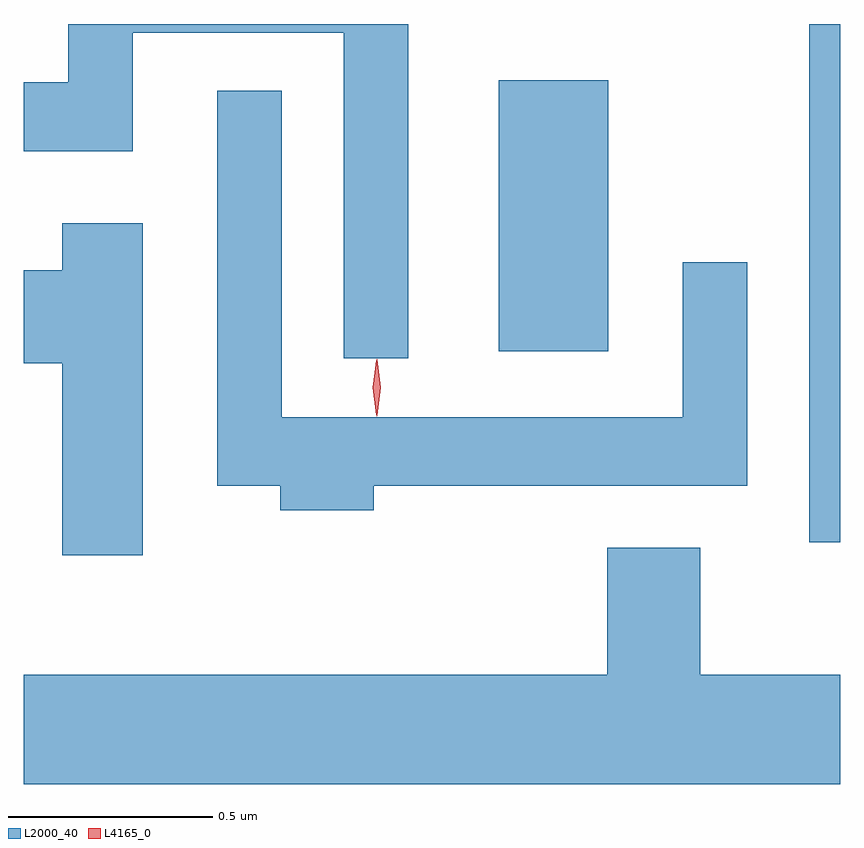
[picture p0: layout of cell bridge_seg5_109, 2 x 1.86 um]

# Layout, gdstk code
import gdstk
lib = gdstk.Library(unit=1e-6, precision=1e-09)
def R(c, l, rs):  # rectangles x0, y0, x1, y1
    for r in rs: c.add(gdstk.rectangle(r[:2], r[2:], *l))
def P(c, l, *ps):  # polygons
    for p in ps: c.add(gdstk.Polygon(p, *l))
L2000_40 = (2000, 40)
L4165_0 = (4165, 0)

bridge_seg5_109 = lib.new_cell('bridge_seg5_109')
R(bridge_seg5_109, L2000_40, [(1167.656,1504.008,1167.732,1505.277), (1166.896,1504.476,1167.164,1505.139)])
P(bridge_seg5_109, L2000_40, [(1166.674,1505.277),(1165.841,1505.277),(1165.841,1505.134),(1165.732,1505.134),(1165.732,1504.966),(1165.999,1504.966),(1165.999,1505.256),(1166.516,1505.256),(1166.516,1504.458),(1166.674,1504.458)],
  [(1166.589,1504.146),(1167.504,1504.146),(1167.504,1504.693),(1167.346,1504.693),(1167.346,1504.314),(1166.364,1504.314),(1166.364,1505.113),(1166.206,1505.113),(1166.206,1504.146),(1166.361,1504.146),(1166.361,1504.086),(1166.589,1504.086)],
  [(1166.024,1504.789),(1165.826,1504.789),(1165.826,1504.674),(1165.732,1504.674),(1165.732,1504.446),(1165.826,1504.446),(1165.826,1503.976),(1166.024,1503.976)],
  [(1167.732,1503.684),(1167.389,1503.684),(1167.389,1503.994),(1167.161,1503.994),(1167.161,1503.684),(1165.732,1503.684),(1165.732,1503.416),(1167.732,1503.416)])
P(bridge_seg5_109, L4165_0, [(1166.597,1504.317),(1166.597,1504.318),(1166.587,1504.387),(1166.597,1504.456),(1166.597,1504.456),(1166.598,1504.456),(1166.607,1504.387),(1166.598,1504.318)],
  [(1166.596,1504.32),(1166.587,1504.386),(1166.596,1504.452),(1166.596,1504.453),(1166.597,1504.452),(1166.606,1504.386),(1166.597,1504.32),(1166.597,1504.32)])

lib.write_gds('bridge_seg5_109.gds')
